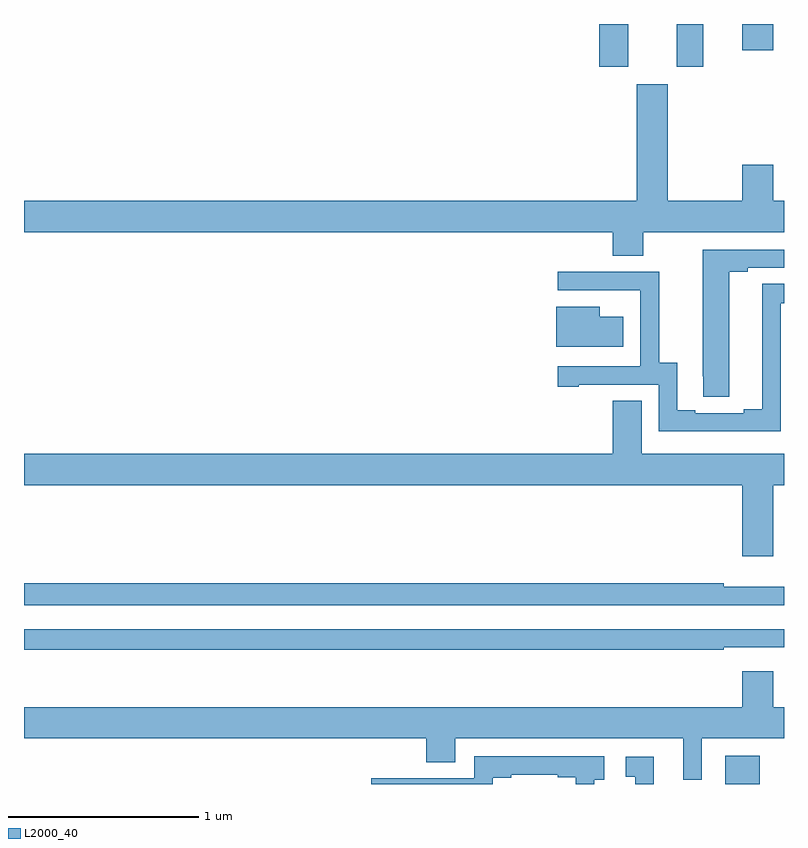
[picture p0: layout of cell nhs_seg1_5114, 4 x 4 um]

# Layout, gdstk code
import gdstk
lib = gdstk.Library(unit=1e-6, precision=1e-09)
def R(c, l, rs):  # rectangles x0, y0, x1, y1
    for r in rs: c.add(gdstk.rectangle(r[:2], r[2:], *l))
def P(c, l, *ps):  # polygons
    for p in ps: c.add(gdstk.Polygon(p, *l))
L2000_40 = (2000, 40)

nhs_seg1_5114 = lib.new_cell('nhs_seg1_5114')
R(nhs_seg1_5114, L2000_40, [(392.69,510.199,392.872,510.349), (392.027,513.975,392.179,514.199), (392.435,513.975,392.575,514.199), (392.78,514.062,392.944,514.199)])
P(nhs_seg1_5114, L2000_40, [(392.259,513.104),(393,513.104),(393,513.268),(392.944,513.268),(392.944,513.457),(392.78,513.457),(392.78,513.268),(392.389,513.268),(392.389,513.883),(392.225,513.883),(392.225,513.268),(389,513.268),(389,513.104),(392.099,513.104),(392.099,512.98),(392.259,512.98)],
  [(392.713,512.896),(392.809,512.896),(392.809,512.916),(393,512.916),(393,513.012),(392.573,513.012),(392.573,512.344),(392.574,512.344),(392.574,512.236),(392.713,512.236)],
  [(392.982,512.73),(393,512.73),(393,512.831),(392.885,512.831),(392.885,512.171),(392.789,512.171),(392.789,512.151),(392.533,512.151),(392.533,512.166),(392.437,512.166),(392.437,512.417),(392.343,512.417),(392.343,512.895),(391.809,512.895),(391.809,512.799),(392.243,512.799),(392.243,512.798),(392.244,512.798),(392.244,512.397),(391.809,512.397),(391.809,512.289),(391.921,512.289),(391.921,512.301),(392.34,512.301),(392.34,512.055),(392.982,512.055)],
  [(392.155,512.659),(392.029,512.659),(392.029,512.71),(391.802,512.71),(391.802,512.501),(392.155,512.501)],
  [(392.944,511.772),(393,511.772),(393,511.936),(392.251,511.936),(392.251,512.216),(392.099,512.216),(392.099,511.936),(389,511.936),(389,511.772),(392.78,511.772),(392.78,511.398),(392.944,511.398)],
  [(393,511.237),(392.684,511.237),(392.684,511.256),(389,511.256),(389,511.14),(393,511.14)],
  [(392.684,510.918),(393,510.918),(393,511.014),(389,511.014),(389,510.906),(392.684,510.906)],
  [(392.568,510.44),(393,510.44),(393,510.604),(392.944,510.604),(392.944,510.793),(392.78,510.793),(392.78,510.604),(389,510.604),(389,510.44),(391.118,510.44),(391.118,510.313),(391.27,510.313),(391.27,510.44),(392.471,510.44),(392.471,510.222),(392.568,510.222)],
  [(391.468,510.231),(391.564,510.231),(391.564,510.249),(391.808,510.249),(391.808,510.234),(391.904,510.234),(391.904,510.199),(392.001,510.199),(392.001,510.221),(392.053,510.221),(392.053,510.345),(391.371,510.345),(391.371,510.228),(390.828,510.228),(390.828,510.199),(391.468,510.199)],
  [(392.314,510.343),(392.166,510.343),(392.166,510.237),(392.216,510.237),(392.216,510.199),(392.314,510.199)])

lib.write_gds('nhs_seg1_5114.gds')
